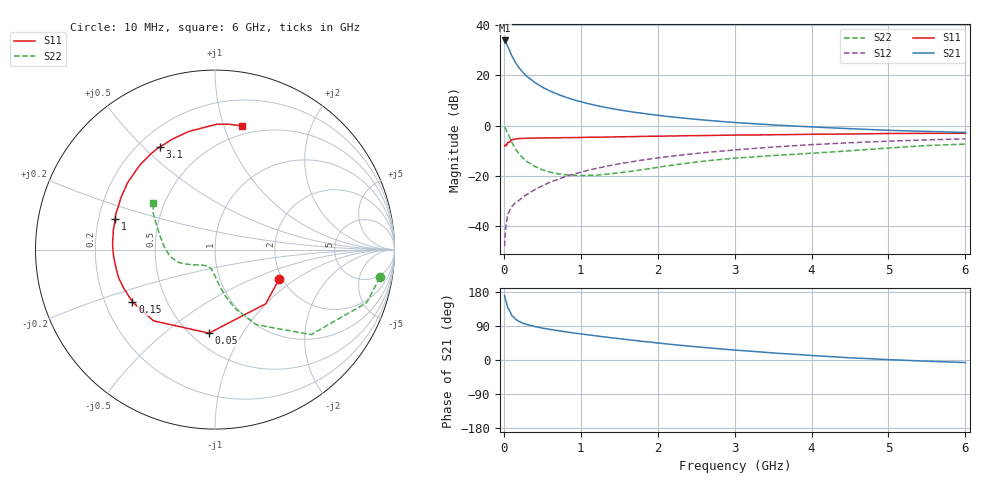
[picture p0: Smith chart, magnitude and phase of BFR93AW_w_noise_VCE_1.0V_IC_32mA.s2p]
! Infineon Technologies  Discrete & RF Semiconductors
! BFR93AW
! VCE =  1.0 V,  IC =  32 mA
! Common Emitter S-Parameters:  Jan 2017
# GHz  S  MA  R  50
!  f  S11  S21  S12  S22
! GHz  MAG  ANG  MAG  ANG  MAG  ANG  MAG  ANG
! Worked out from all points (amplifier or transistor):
!   77 points, 10 MHz to 6 GHz, reference 50 ohm
!   highest |S21| = 33.9 dB at 10 MHz (marker M1)
!   |S21| within 3 dB of that: start of sweep to 60.36 MHz
!   unconditionally stable (mu >= 1): 390.3 MHz to 2.729 GHz
!   at 130 MHz: K = 0.61, MSG = 28.8 dB, |S12| = -31.3 dB
!   at 2.2 GHz: K = 1.03, MAG = 6.7 dB, |S12| = -12.1 dB
!   at 6 GHz: K = 0.97, MSG = 1.3 dB, |S12| = -5.2 dB
!   lowest NFmin = 1.86 dB at 450 MHz
!   S11 on the Smith chart (normalised r, x): 10 MHz: 1.92, -0.75; 50 MHz: 0.61, -0.72; 150 MHz: 0.32, -0.26; 1 GHz: 0.27, +0.14; 3.1 GHz: 0.28, +0.56; 6 GHz: 0.42, +1.15
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0.01  0.3934 -24.6  49.52 169.9  0.004 80.2  0.9314 -9.6
0.02  0.4135 -46.9  47.97 160.6  0.0077 78.2  0.8955 -19.3
0.05  0.4667 -94.1  37.99 138.0  0.0167 60.5  0.7151 -41.5
0.1  0.5245 -130.8  25.15 117.9  0.024 54.9  0.4768 -61.2
0.15  0.5444 -147.7  18.08 107.7  0.0294 56.1  0.347 -71.1
0.2  0.5524 -157.2  13.96 101.5  0.0328 57.6  0.2728 -76.6
0.25  0.5595 -163.7  11.36 96.9  0.0386 59.3  0.2259 -80.5
0.3  0.5605 -168.4  9.531 93.6  0.0427 61.0  0.1934 -83.8
0.4  0.565 -175.0  7.25 88.4  0.0531 64.8  0.1547 -88.6
0.5  0.5689 179.8  5.825 84.3  0.0633 66.4  0.1327 -93.1
0.6  0.5723 175.6  4.895 80.7  0.0752 67.0  0.1191 -97.3
0.7  0.5727 172.1  4.21 77.7  0.085 68.5  0.1104 -100.9
0.8  0.5772 168.9  3.701 74.4  0.0971 68.3  0.1053 -104.9
1  0.5816 162.9  2.992 68.9  0.1185 67.9  0.1019 -113.2
1.1  0.5875 160.2  2.735 66.3  0.1301 67.3  0.1029 -116.6
1.3  0.5907 155.0  2.339 61.1  0.1514 65.9  0.107 -123.9
1.5  0.5998 150.5  2.056 56.3  0.1735 64.5  0.1154 -131.4
2.1  0.6189 137.1  1.544 42.9  0.2383 58.7  0.1562 -147.6
3.1  0.6494 118.0  1.13 24.8  0.3374 47.8  0.2303 -165.2
4.1  0.6746 101.3  0.928 10.7  0.4259 36.3  0.2887 174.6
5.1  0.6991 87.9  0.799 0.2  0.4966 24.8  0.3669 154.5
6  0.7047 77.9  0.733 -6.7  0.547 15.1  0.4298 143.1
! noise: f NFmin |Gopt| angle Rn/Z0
0.45  1.86  0.19  175  0.16
0.9  2.12  0.26  -174  0.16
1.9  3.16  0.51  -135  0.3
2.4  3.82  0.56  -124  0.57
